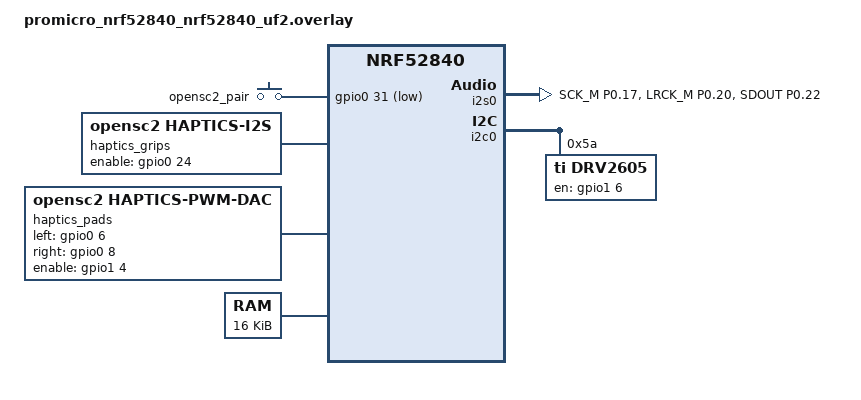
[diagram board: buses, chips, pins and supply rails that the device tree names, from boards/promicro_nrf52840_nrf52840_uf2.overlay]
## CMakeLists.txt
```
# Copyright (c) 2026 the OpenSC2-Controller authors
# SPDX-License-Identifier: MIT
cmake_minimum_required(VERSION 3.20.0)

# The OpenSC2 library is a Zephyr module: the OpenSC2-Controller repository. Inside the repository
# it is found here. In a copy of this folder elsewhere, set ZEPHYR_EXTRA_MODULES to your
# OpenSC2-Controller folder (environment variable, or -DZEPHYR_EXTRA_MODULES=<folder>), or list the
# repository in your west manifest (docs/integration.md).
if(EXISTS ${CMAKE_CURRENT_LIST_DIR}/../../zephyr/module.yml AND
   EXISTS ${CMAKE_CURRENT_LIST_DIR}/../../include/opensc2/opensc2.h)
  list(APPEND ZEPHYR_EXTRA_MODULES ${CMAKE_CURRENT_LIST_DIR}/../..)
endif()

find_package(Zephyr REQUIRED HINTS $ENV{ZEPHYR_BASE})
project(opensc2_haptics LANGUAGES C)

target_sources(app PRIVATE src/main.c)
```

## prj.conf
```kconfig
# Copyright (c) 2026 the OpenSC2-Controller authors
# SPDX-License-Identifier: MIT
#
# The haptics synthesiser with real outputs, wired or wireless: the grips on an I2S amplifier, the
# pads on a PWM "DAC" (the overlay has the pins). drv2605.conf on top: one actuator on a DRV2605
# instead. The SuperMini's own lines (its clock) are in boards/promicro_nrf52840_nrf52840_uf2.conf.

# The library. The puck sends packets of up to 128 bytes; the real controller keeps two replies
# queued.
CONFIG_OPENSC2=y
CONFIG_ESB_MAX_PAYLOAD_LENGTH=128
CONFIG_ESB_TX_FIFO_SIZE=2

# The synthesiser and its two outputs (each set up from its devicetree node).
CONFIG_OPENSC2_HAPTICS_SYNTH=y
CONFIG_OPENSC2_HAPTICS_OUT_I2S=y
CONFIG_OPENSC2_HAPTICS_OUT_PWM_DAC=y

# The pairing button (gpio-keys).
CONFIG_GPIO=y
CONFIG_INPUT=y

# Wired mode (the overlay chooses the HID node). The library runs the USB device, so the board's
# own serial port does not start at boot; in wireless mode the library shows it as the console.
# Eight report buffers, and room on the stacks for the vendor commands that write flash.
CONFIG_CDC_ACM_SERIAL_INITIALIZE_AT_BOOT=n
CONFIG_USBD_HID_IN_BUF_COUNT=8
CONFIG_USBD_THREAD_STACK_SIZE=2048
CONFIG_SYSTEM_WORKQUEUE_STACK_SIZE=2048

# Bonds survive a reboot in Zephyr settings, on NVS in the board's storage partition. Steam's
# pairing over the cable stores the bond and then reboots the board: without these it is lost.
CONFIG_FLASH=y
CONFIG_FLASH_MAP=y
CONFIG_NVS=y
CONFIG_SETTINGS=y
CONFIG_SETTINGS_NVS=y

# Log and shell on the USB serial port in wireless mode ("hap cue 0", "hap info", "opensc2 status").
# The shell prints the log, so the plain UART log output is off. While wired the log goes into the
# USB session log, and the log thread needs a bigger stack.
CONFIG_LOG=y
CONFIG_LOG_PROCESS_THREAD_STACK_SIZE=1536
CONFIG_SHELL=y
CONFIG_LOG_BACKEND_UART=n
CONFIG_SHELL_PROMPT_UART="opensc2:~$ "
CONFIG_MAIN_STACK_SIZE=2048
```

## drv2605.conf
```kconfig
# Copyright (c) 2026 the OpenSC2-Controller authors
# SPDX-License-Identifier: MIT
#
# On top of prj.conf: one actuator (an ERM or an LRA) on a DRV2605(L) breakout instead of the I2S
# amplifier and the PWM DAC. Every 8 ms the louder of the two paths' rendered blocks becomes the
# chip's real-time amplitude. Set the overlay's actuator-mode ("ERM" or "LRA") to yours.
#
#   powershell -NoProfile -ExecutionPolicy Bypass -File build.ps1 -Project samples\haptics\drv2605.conf -OutDir C:\b\osc2-drv -Pristine
CONFIG_OPENSC2_HAPTICS_OUT_I2S=n
CONFIG_OPENSC2_HAPTICS_OUT_PWM_DAC=n
CONFIG_OPENSC2_HAPTICS_OUT_DRV2605=y
```

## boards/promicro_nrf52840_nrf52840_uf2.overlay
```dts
/*
 * Copyright (c) 2026 the OpenSC2-Controller authors
 * SPDX-License-Identifier: MIT
 *
 * SuperMini / Pro Micro nRF52840 with the haptics synthesiser's outputs (built; not yet tested on
 * hardware): the grips on an I2S amplifier, the pads on a PWM "DAC", and a DRV2605 on I2C for the
 * one-actuator build (drv2605.conf). Never drive an actuator straight from a pin.
 *
 *   I2S amplifier (one MAX98357A per grip, or a stereo one)     PWM DAC (the pads)
 *     P0.17 BCLK   P0.20 LRCLK   P0.22 DIN                        P0.06 left pad    P0.08 right pad
 *     P0.24 the amplifier's SD (shutdown) pin                     P1.04 the driver's enable
 *   DRV2605(L) breakout (drv2605.conf)                          P0.31 pairing button (to GND)
 *     P1.00 SDA    P0.11 SCL    P1.06 EN
 *
 * The PWM DAC needs an H-bridge or a small amplifier per pad, fed through an RC low-pass (for
 * example 1 kOhm and 100 nF, about 1.6 kHz). Pins are free to change: the nRF52840 routes I2S,
 * PWM and I2C to any GPIO.
 */
#include <dt-bindings/opensc2/inputs.h>

/ {
	opensc2_buttons: opensc2_buttons {
		compatible = "gpio-keys";
		debounce-interval-ms = <5>;
		/* Held while plugging in: this boot is wireless. Pressed and released while wired:
		 * back to wireless mode. Pressed while wireless: answers an open pairing window. */
		opensc2_pair: pair {
			gpios = <&gpio0 31 (GPIO_PULL_UP | GPIO_ACTIVE_LOW)>;
			zephyr,code = <OPENSC2_KEY_PAIR>;
		};
	};

	/* The grips: I2S as master, 16-bit stereo at 8 kHz. */
	haptics_grips: haptics-grips {
		compatible = "opensc2,haptics-i2s";
		i2s = <&i2s0>;
		enable-gpios = <&gpio0 24 GPIO_ACTIVE_HIGH>;
	};

	/* The pads: nrfx drives PWM3 itself, so its node stays disabled. */
	haptics_pads: haptics-pads {
		compatible = "opensc2,haptics-pwm-dac";
		pwm = <&pwm3>;
		left-gpios = <&gpio0 6 GPIO_ACTIVE_HIGH>;
		right-gpios = <&gpio0 8 GPIO_ACTIVE_HIGH>;
		enable-gpios = <&gpio1 4 GPIO_ACTIVE_HIGH>;
	};

	/* Wired mode: the USB HID function of the wired Steam Controller 2 (64-byte reports, 1 ms),
	 * and 16 KB of RAM that a soft reset keeps (the warm-restart mark, the USB session log), clear
	 * of the RAM the UF2 bootloader uses at every reset (docs/porting.md). */
	chosen {
		opensc2,usb-hid = &opensc2_hid;
		opensc2,retained-ram = &opensc2_retained;
		opensc2,haptics-drv2605 = &drv2605;
	};

	opensc2_hid: opensc2_hid {
		compatible = "zephyr,hid-device";
		in-report-size = <64>;
		in-polling-period-us = <1000>;
		out-report-size = <64>;
		out-polling-period-us = <1000>;
	};

	opensc2_retained: memory@2002c000 {
		compatible = "zephyr,memory-region", "mmio-sram";
		reg = <0x2002c000 DT_SIZE_K(16)>;
		zephyr,memory-region = "OPENSC2_RETAINED";
	};
};

/* The application's RAM ends below the retained area (176 KB of the 256). */
&sram0 {
	reg = <0x20000000 DT_SIZE_K(176)>;
};

&pinctrl {
	i2s0_default: i2s0_default {
		group1 {
			psels = <NRF_PSEL(I2S_SCK_M, 0, 17)>,
				<NRF_PSEL(I2S_LRCK_M, 0, 20)>,
				<NRF_PSEL(I2S_SDOUT, 0, 22)>;
		};
	};
	i2s0_sleep: i2s0_sleep {
		group1 {
			psels = <NRF_PSEL(I2S_SCK_M, 0, 17)>,
				<NRF_PSEL(I2S_LRCK_M, 0, 20)>,
				<NRF_PSEL(I2S_SDOUT, 0, 22)>;
			low-power-enable;
		};
	};
};

&i2s0 {
	status = "okay";
	pinctrl-0 = <&i2s0_default>;
	pinctrl-1 = <&i2s0_sleep>;
	pinctrl-names = "default", "sleep";
};

/* The DRV2605 on the board's I2C bus (P1.00 SDA, P0.11 SCL); used by drv2605.conf only. */
&i2c0 {
	drv2605: drv2605@5a {
		compatible = "ti,drv2605";
		reg = <0x5a>;
		actuator-mode = "ERM";
		en-gpios = <&gpio1 6 GPIO_ACTIVE_HIGH>;
	};
};

/* Their pins are used above: off. */
&uart0 { status = "disabled"; };
&i2c1 { status = "disabled"; };
&spi2 { status = "disabled"; };
```

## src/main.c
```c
/*
 * Copyright (c) 2026 the OpenSC2-Controller authors
 * SPDX-License-Identifier: MIT
 *
 * The haptics synthesiser with real outputs, wired or wireless (built; not yet tested on
 * hardware). With CONFIG_OPENSC2_HAPTICS_SYNTH the library itself renders everything Steam plays
 * on the controller's haptics (rumble, pulses, clicks, tones, sweeps, scripts, PCM streams) into
 * sample blocks, and the outputs set up from the overlay play them: the grips on an I2S amplifier,
 * the pads on a PWM "DAC" (or, with drv2605.conf, one actuator on a DRV2605). This file only starts
 * the library (whose system state machine plays the start-up cue, one of OpenSC2's own sounds)
 * and adds a shell command to try the sounds by hand:
 *
 *   hap cue <0..10> [level]           a cue on both grips (the level: 1 quiet, 2 normal)
 *   hap script <1..17> [chan] [dB]    a built-in script (chan: OPENSC2_HAPTIC_* bits, hex)
 *   hap click <a|b> [chan] [dB]       a click on the pads
 *   hap stop [chan]                   stop everything
 *   hap fall                          a free fall: a drop sound, half of the time
 *   hap own <on|off>                  sounds of this board's own in place of OpenSC2's: click A,
 *                                     script 1 (the power-on cue) and script 16 (a drop sound)
 *   hap info                          what plays
 *
 * There is no power_request callback: the library does the reboots Steam asks for itself, and it
 * ignores Steam's request to enter a bootloader for a firmware update.
 */
#include <stdlib.h>
#include <string.h>
#include <zephyr/kernel.h>
#include <zephyr/drivers/gpio.h>
#include <zephyr/input/input.h>
#include <zephyr/logging/log.h>
#include <zephyr/shell/shell.h>
#include <opensc2/opensc2.h>
#include <opensc2/haptics.h>

LOG_MODULE_REGISTER(haptics_sample, LOG_LEVEL_INF);

/* ---- The pairing button: the same rules in every sample ------------------------------------- */

static const struct gpio_dt_spec pair_pin = GPIO_DT_SPEC_GET(DT_NODELABEL(opensc2_pair), gpios);
static bool pair_held_at_boot;   /* the press that chose wireless: ignored until it is released */
static bool pair_down;

/* Is the button held while the board starts? gpio-keys has already set the pin up with its
 * pull-up. Read twice, 5 ms apart: a bouncing contact counts as released. */
static bool pair_held(void)
{
	if (!gpio_is_ready_dt(&pair_pin) || gpio_pin_get_dt(&pair_pin) != 1) {
		return false;
	}
	k_msleep(5);
	return gpio_pin_get_dt(&pair_pin) == 1;
}

/* Wired: pressed and released, reboot into wireless mode (on the release, so that the button is
 * up again at the next boot). Wireless: pressed, answer a puck's open pairing window (untested
 * with Steam, which pairs controllers over the cable). */
static void pair_button(bool pressed)
{
	if (pair_held_at_boot) {
		pair_held_at_boot = pressed;   /* released: a normal button from now on */
		return;
	}
	if (opensc2_mode() == OPENSC2_MODE_WIRED) {
		if (pair_down && !pressed) {
			opensc2_reboot_later(OPENSC2_REBOOT_WIRELESS, "pair button", 0);
		}
	} else if (pressed) {
		opensc2_pair_start(0);   /* 0: the default window, 60 s */
	}
	pair_down = pressed;
}

static void on_button(struct input_event *evt, void *user_data)
{
	ARG_UNUSED(user_data);
	if (evt->type == INPUT_EV_KEY && evt->code == OPENSC2_KEY_PAIR) {
		pair_button(evt->value != 0);
	}
}
INPUT_CALLBACK_DEFINE(DEVICE_DT_GET(DT_NODELABEL(opensc2_buttons)), on_button, NULL);

/* ---- Trying the sounds by hand ---------------------------------------------------------------- */

static uint8_t arg_u8(size_t argc, char **argv, size_t i, uint8_t fallback, int base)
{
	return i < argc ? (uint8_t)strtol(argv[i], NULL, base) : fallback;
}

static int cmd_cue(const struct shell *sh, size_t argc, char **argv)
{
	int err = opensc2_haptics_play_cue(arg_u8(argc, argv, 1, 0, 10),
					   arg_u8(argc, argv, 2, opensc2_chime_level(), 10));

	shell_print(sh, "cue: %d", err);
	return 0;
}

static int cmd_script(const struct shell *sh, size_t argc, char **argv)
{
	int n = opensc2_haptics_play_script(arg_u8(argc, argv, 2, 0x0C, 16),
					    arg_u8(argc, argv, 1, 1, 10),
					    (int8_t)(argc > 3 ? atoi(argv[3]) : -12));

	shell_print(sh, "script: %d channel(s)", n);
	return 0;
}

static int cmd_click(const struct shell *sh, size_t argc, char **argv)
{
	uint8_t click = argc > 1 && argv[1][0] == 'b' ? OPENSC2_HAPTIC_CMD_CLICK_B :
			OPENSC2_HAPTIC_CMD_CLICK_A;
	int n = opensc2_haptics_click(arg_u8(argc, argv, 2, 0x03, 16), click,
				      (int8_t)(argc > 3 ? atoi(argv[3]) : 0));

	shell_print(sh, "click: %d channel(s)", n);
	return 0;
}

static int cmd_stop(const struct shell *sh, size_t argc, char **argv)
{
	shell_print(sh, "stop: %d", opensc2_haptics_stop(arg_u8(argc, argv, 1, 0x0F, 16)));
	return 0;
}

static int cmd_fall(const struct shell *sh, size_t argc, char **argv)
{
	ARG_UNUSED(argc);
	ARG_UNUSED(argv);
	opensc2_haptics_free_fall();
	shell_print(sh, "free fall reported");
	return 0;
}

/* Sounds of the board's own, as a board would give its recordings: here a short click made of a
 * few s8 samples at 4 kHz, a two-note power-on cue and a drop sound that plays a recording (the
 * same samples at 1 kHz, eight times as long) after a low thump on the grips. */
static const uint8_t own_click_pcm[] = {
	0, 90, 127, 60, (uint8_t)-40, (uint8_t)-100, (uint8_t)-60, 0, 30, 20, 0,
};
static const struct opensc2_haptics_sound own_click = {
	own_click_pcm, sizeof(own_click_pcm), 5,      /* s8 at 4 kHz */
};
static const struct opensc2_haptics_sound own_drop = {
	own_click_pcm, sizeof(own_click_pcm), 7,      /* s8 at 1 kHz */
};
static const struct opensc2_haptics_step own_power_on[] = {
	{ .delay_ms = 1, .kind = OPENSC2_HAPTICS_STEP_TONE, .a = 330, .b = 90 },
	{ .delay_ms = 110, .kind = OPENSC2_HAPTICS_STEP_TONE, .gain_db = 2, .a = 495, .b = 120 },
	{ .delay_ms = 140, .kind = OPENSC2_HAPTICS_STEP_END },
};
static const struct opensc2_haptics_step own_drop_steps[] = {
	{ .delay_ms = 1, .kind = OPENSC2_HAPTICS_STEP_TONE, .gain_db = -6, .a = 70, .b = 120,
	  .flags = OPENSC2_HAPTICS_STEP_FIXED_GAIN },
	{ .delay_ms = 130, .kind = OPENSC2_HAPTICS_STEP_CLIP, .clip = &own_drop },
	{ .delay_ms = 100, .kind = OPENSC2_HAPTICS_STEP_END },
};

static int cmd_own(const struct shell *sh, size_t argc, char **argv)
{
	bool on = argc < 2 || strcmp(argv[1], "off") != 0;
	int err;

	err = opensc2_haptics_set_click(OPENSC2_HAPTIC_CMD_CLICK_A, on ? &own_click : NULL);
	if (!err) {
		err = opensc2_haptics_set_script(1, on ? own_power_on : NULL,
						 on ? ARRAY_SIZE(own_power_on) : 0);
	}
	if (!err) {
		err = opensc2_haptics_set_script(16, on ? own_drop_steps : NULL,
						 on ? ARRAY_SIZE(own_drop_steps) : 0);
	}
	shell_print(sh, "own sounds %s: %d", on ? "on" : "off", err);
	return 0;
}

static int cmd_info(const struct shell *sh, size_t argc, char **argv)
{
	struct opensc2_haptics_info info;

	ARG_UNUSED(argc);
	ARG_UNUSED(argv);
	(void)opensc2_haptics_info(&info);
	for (int p = 0; p < 2; p++) {
		shell_print(sh, "%s: %s, output %s, %u blocks, %u underruns", p ? "grips" : "pads",
			    info.busy[p] ? "playing" : "idle", info.output[p] ? "yes" : "none",
			    info.blocks[p], info.underruns[p]);
	}
	shell_print(sh, "scripts 0x%x, lost commands %u, stream bytes %u %u %u %u", info.scripts,
		    info.lost, info.stream_fill[0], info.stream_fill[1], info.stream_fill[2],
		    info.stream_fill[3]);
	return 0;
}

SHELL_STATIC_SUBCMD_SET_CREATE(hap_cmds,
	SHELL_CMD_ARG(cue, NULL, "Play a cue: <0..10> [level]", cmd_cue, 2, 1),
	SHELL_CMD_ARG(script, NULL, "Play a script: <1..17> [channels, hex] [dB]", cmd_script, 2, 2),
	SHELL_CMD_ARG(click, NULL, "Click: <a|b> [channels, hex] [dB]", cmd_click, 2, 2),
	SHELL_CMD_ARG(stop, NULL, "Stop: [channels, hex]", cmd_stop, 1, 1),
	SHELL_CMD(fall, NULL, "Report a free fall", cmd_fall),
	SHELL_CMD_ARG(own, NULL, "Sounds of the board's own: <on|off>", cmd_own, 1, 1),
	SHELL_CMD(info, NULL, "What plays", cmd_info),
	SHELL_SUBCMD_SET_END);
SHELL_CMD_REGISTER(hap, &hap_cmds, "The haptics synthesiser's sounds", NULL);

int main(void)
{
	struct opensc2_config config = { .start = true };
	int err;

	if (pair_held()) {
		pair_held_at_boot = true;
		config.boot_mode = OPENSC2_BOOT_WIRELESS;   /* held while plugging in: wireless */
	}
	err = opensc2_init(&config);
	if (err) {
		/* The console still starts (in wireless mode), so this can be read there. */
		LOG_ERR("opensc2_init failed (%d)", err);
		return 0;
	}
	/* With the system state machine (the default) the library plays the start-up cue itself, as
	 * the real controller does: cue 0 when wired, the stored transport's when wireless, at the
	 * stored chime level. Without the machine the application plays it. */
	if (!IS_ENABLED(CONFIG_OPENSC2_SYSTEM)) {
		(void)opensc2_haptics_play_cue(opensc2_mode() == OPENSC2_MODE_WIRED ?
					       OPENSC2_HAPTICS_CUE_USB_START :
					       opensc2_selected_slot() ? OPENSC2_HAPTICS_CUE_PUCK_2 :
					       OPENSC2_HAPTICS_CUE_PUCK, opensc2_chime_level());
	}
	return 0;
}
```
